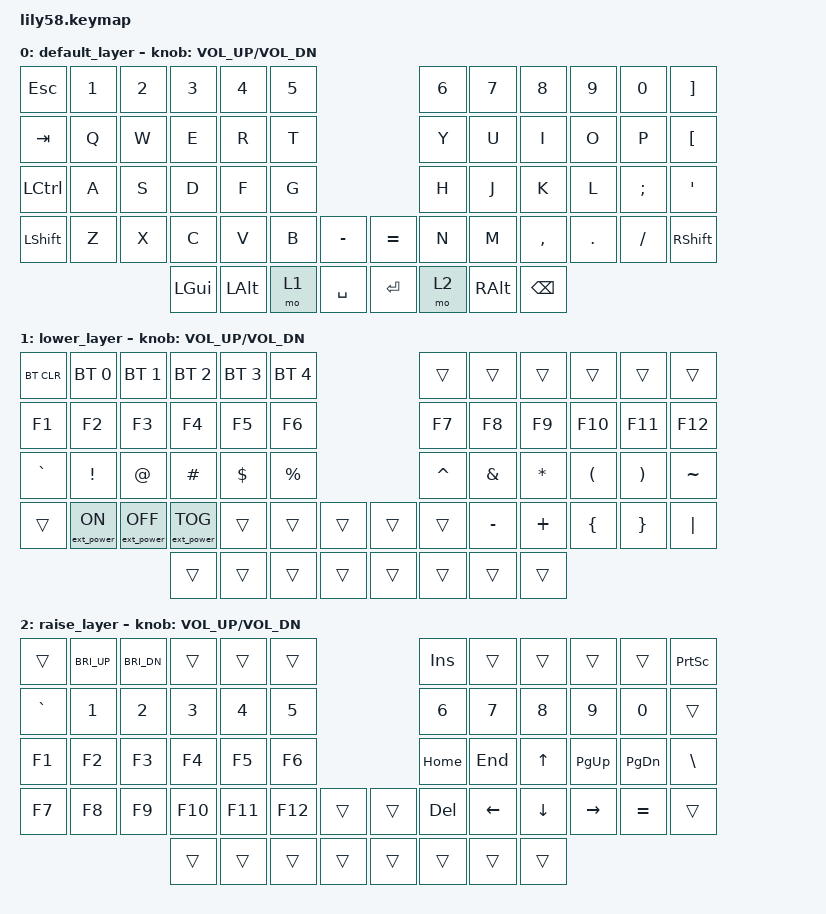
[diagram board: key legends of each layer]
/*
 * Copyright (c) 2020 The ZMK Contributors
 *
 * SPDX-License-Identifier: MIT
 */

#include <behaviors.dtsi>
#include <dt-bindings/zmk/keys.h>
#include <dt-bindings/zmk/bt.h>
#include <dt-bindings/zmk/ext_power.h>

/ {
    keymap {
        compatible = "zmk,keymap";

        default_layer {
// ------------------------------------------------------------------------------------------------------------
// |  ESC  |  1  |  2  |  3   |  4   |  5   |                   |  6   |  7    |  8    |  9   |   0   |   ]   |
// |  TAB  |  Q  |  W  |  E   |  R   |  T   |                   |  Y   |  U    |  I    |  O   |   P   |   [   |
// |  CTRL |  A  |  S  |  D   |  F   |  G   |                   |  H   |  J    |  K    |  L   |   ;   |   '   |
// | SHIFT |  Z  |  X  |  C   |  V   |  B   |    -   |  |   =   |  N   |  M    |  ,    |  .   |   /   | SHIFT |
//                     | GUI  | RALT | LOWER|  SPACE |  | ENTER | RAISE| RALT  | BSPC   |
// dvorak
// ------------------------------------------------------------------------------------------------------------
// |  ESC  |  1  |  2  |  3   |  4   |  5   |                   |  6   |  7    |  8    |  9   |   0   |   =   |
// |  TAB  |  '  |  ,  |  .   |  P   |  Y   |                   |  F   |  G    |  C    |  R   |   L   |   /   |
// |  CTRL |  A  |  O  |  E   |  U   |  I   |                   |  D   |  H    |  T    |  N   |   S   |   -   |
// | SHIFT |  Z  |  X  |  C   |  V   |  B   |    [   |  |   ]   |  N   |  M    |  ,    |  .   |   /   | SHIFT |
//                     | GUI  | RALT | LOWER|  SPACE |  | ENTER | RAISE| RALT  | BSPC   |
            bindings = <
&kp ESC   &kp N1 &kp N2 &kp N3   &kp N4   &kp N5                     &kp N6 &kp N7   &kp N8    &kp N9  &kp N0   &kp RBKT
&kp TAB   &kp Q  &kp W  &kp E    &kp R    &kp T                      &kp Y  &kp U    &kp I     &kp O   &kp P    &kp LBKT
&kp LCTRL &kp A  &kp S  &kp D    &kp F    &kp G                      &kp H  &kp J    &kp K     &kp L   &kp SEMI &kp SQT
&kp LSHFT &kp Z  &kp X  &kp C    &kp V    &kp B &kp MINUS  &kp EQUAL &kp N  &kp M    &kp COMMA &kp DOT &kp FSLH &kp RSHFT
                        &kp LGUI &kp LALT &mo 1 &kp SPACE  &kp RET   &mo 2  &kp RALT &kp BSPC
            >;

            sensor-bindings = <&inc_dec_kp C_VOL_UP C_VOL_DN>;
        };

        lower_layer {
// ------------------------------------------------------------------------------------------------------------
// | BTCLR | BT1 | BT2 |  BT3 |  BT4 |  BT5 |                   |      |       |       |      |       |       |
// |  F1   |  F2 |  F3 |  F4  |  F5  |  F6  |                   |  F7  |  F8   |  F9   |  F10 |  F11  |  F12  |
// |   `   |  !  |  @  |  #   |  $   |  %   |                   |  ^   |  &    |  *    |  (   |   )   |   ~   |
// |       |     |     |      |      |      |        |  |       |      |  _    |  +    |  {   |   }   |  "|"  |
//                     |      |      |      |        |  |       |      |       |       |
// dvorak
// ------------------------------------------------------------------------------------------------------------
// | BTCLR | BT1 | BT2 |  BT3 |  BT4 |  BT5 |                   |      |       |       |      |       |       |
// |  F1   |  F2 |  F3 |  F4  |  F5  |  F6  |                   |  F7  |  F8   |  F9   |  F10 |  F11  |  F12  |
// |   `   |  !  |  @  |  #   |  $   |  %   |                   |  ^   |  &    |  *    |  (   |   )   |   ~   |
// |       |     |     |      |      |      |        |  |       |      |  {    |  }    |  ?   |   +   |  "|"  |
//                     |      |      |      |        |  |       |      |       |       |
            bindings = <
&bt BT_CLR &bt BT_SEL 0     &bt BT_SEL 1      &bt BT_SEL 2      &bt BT_SEL 3 &bt BT_SEL 4                 &trans    &trans    &trans    &trans    &trans    &trans
&kp F1     &kp F2           &kp F3            &kp F4            &kp F5       &kp F6                       &kp F7    &kp F8    &kp F9    &kp F10   &kp F11   &kp F12
&kp GRAVE  &kp EXCL         &kp AT            &kp HASH          &kp DOLLAR   &kp PRCNT                    &kp CARET &kp AMPS  &kp ASTRK &kp LPAR  &kp RPAR  &kp TILDE
&trans     &ext_power EP_ON &ext_power EP_OFF &ext_power EP_TOG &trans       &trans    &trans   &trans    &trans    &kp MINUS &kp PLUS  &kp LBRC  &kp RBRC  &kp PIPE
                                              &trans            &trans       &trans    &trans   &trans    &trans    &trans    &trans
            >;

            sensor-bindings = <&inc_dec_kp C_VOL_UP C_VOL_DN>;
        };

        raise_layer {
// --------------------------------------------------------------------------------------------------------------
// |       | BRUP | BRDN |      |      |      |                   | INS  |       |       |      |       | PSCRN |
// |   `   |  1   |  2   |  3   |  4   |  5   |                   |  6   |   7   |   8   |  9   |   0   |       |
// |   F1  |  F2  |  F3  |  F4  |  F5  |  F6  |                   | HOME |  END  |   ^   | PGUP |  PGDN |   \   |
// |   F7  |  F8  |  F9  |  F10 |  F11 |  F12 |        |  |       | DEL  |   <-  |   v   |  ->   |  =   |       |
//                       |      |      |      |        |  |       | INS  |       |       |
// dvorak
// --------------------------------------------------------------------------------------------------------------
// |       | BRUP | BRDN |      |      |      |                   | INS  |       |       |      |       | PSCRN |
// |   `   |  1   |  2   |  3   |  4   |  5   |                   |  6   |   7   |   8   |  9   |   0   |       |
// |   F1  |  F2  |  F3  |  F4  |  F5  |  F6  |                   | HOME |  END  |   ^   | PGUP |  PGDN |   \   |
// |   F7  |  F8  |  F9  |  F10 |  F11 |  F12 |        |  |       | DEL  |   <-  |   v   |  ->  |   =   |       |
//                       |      |      |      |        |  |       |      |       |       |
            bindings = <
&trans    &kp C_BRI_UP &kp C_BRI_DN &trans  &trans  &trans        &kp INS     &trans    &trans   &trans    &trans    &kp PSCRN
&kp GRAVE &kp N1 &kp N2 &kp N3  &kp N4  &kp N5                    &kp N6      &kp N7    &kp N8   &kp N9    &kp N0    &trans
&kp F1    &kp F2 &kp F3 &kp F4  &kp F5  &kp F6                    &kp HOME    &kp END   &kp UP   &kp PG_UP &kp PG_DN &kp BSLH
&kp F7    &kp F8 &kp F9 &kp F10 &kp F11 &kp F12   &trans   &trans &kp DEL     &kp LEFT  &kp DOWN &kp RIGHT &kp EQUAL &trans
                        &trans  &trans  &trans    &trans   &trans &trans      &trans    &trans
            >;

            sensor-bindings = <&inc_dec_kp C_VOL_UP C_VOL_DN>;
        };
    };
};
